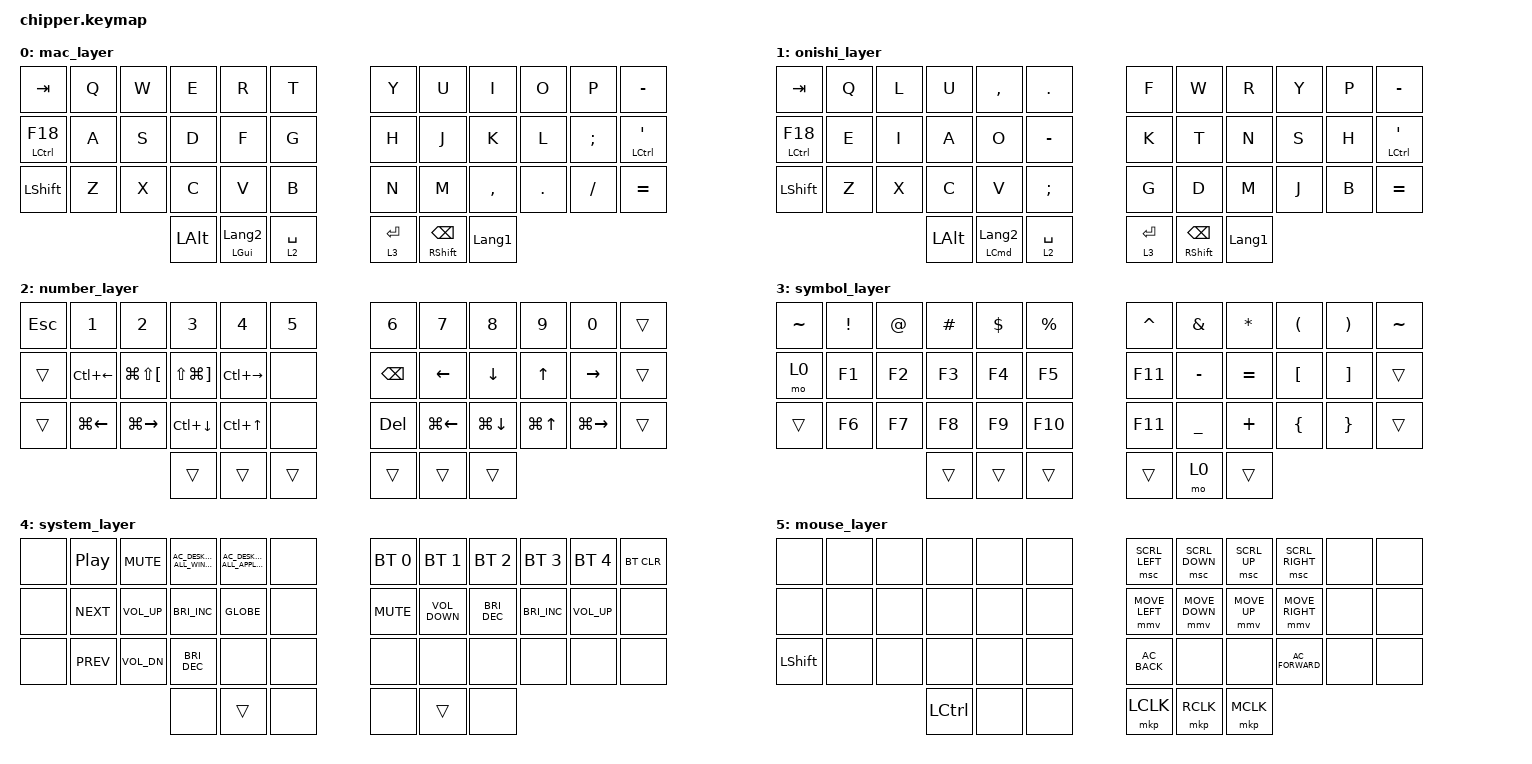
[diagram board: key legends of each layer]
#define ZMK_POINTING_DEFAULT_MOVE_VAL 1700 // default: 600
#define ZMK_POINTING_DEFAULT_SCRL_VAL 30  // default: 10

#include <behaviors.dtsi>
#include <dt-bindings/zmk/bt.h>
#include <dt-bindings/zmk/keys.h>
#include <dt-bindings/zmk/pointing.h>

#define MAC 0  // mac os
#define WIN 1  // windows os
#define SYM 2  // symbol & function
#define NUM 3  // number
#define SYS 4  // system such as media, bluetooth, bootloader, etc
#define PNT 5  // mouse

/ {
    combos {
        compatible = "zmk,combos";

        bootloader_left {
            bindings = <&bootloader>;
            key-positions = <0 24 38 5>;
        };

        bootloader_right {
            bindings = <&bootloader>;
            key-positions = <11 35 39 6>;
        };

        to_onishi_layer {
            bindings = <&tog 1>;
            key-positions = <3 4 5>;
        };

        to_system_layer {
            bindings = <&mo 4>;
            key-positions = <0 5>;
        };
    };

    behaviors {
        hold_tap_repeat: hold_tap_repeat {
            compatible = "zmk,behavior-hold-tap";
            label = "HOLD_TAP_REPEAT";
            bindings = <&kp>, <&kp>;

            #binding-cells = <2>;
            tapping-term-ms = <200>;
            quick-tap-ms = <200>;
            flavor = "balanced";
        };

        layer_tap_repeat: layer_tap_repeat {
            compatible = "zmk,behavior-hold-tap";
            label = "LAYER_TAP_REPEAT";
            bindings = <&mo>, <&kp>;

            #binding-cells = <2>;
            tapping-term-ms = <200>;
            quick-tap-ms = <200>;
            flavor = "balanced";
        };
    };

    keymap {
        compatible = "zmk,keymap";

        mac_layer {
            bindings = <
&kp TAB        &kp Q  &kp W  &kp E         &kp R                    &kp T                      &kp Y                      &kp U                                   &kp I           &kp O    &kp P     &kp MINUS
&mt LCTRL F18  &kp A  &kp S  &kp D         &kp F                    &kp G                      &kp H                      &kp J                                   &kp K           &kp L    &kp SEMI  &mt LCTRL SQT
&kp LSHFT      &kp Z  &kp X  &kp C         &kp V                    &kp B                      &kp N                      &kp M                                   &kp COMMA       &kp DOT  &kp FSLH  &kp EQUAL
                             &kp LEFT_ALT  &mt LEFT_GUI LANGUAGE_2  &layer_tap_repeat 2 SPACE  &layer_tap_repeat 3 ENTER  &hold_tap_repeat RIGHT_SHIFT BACKSPACE  &kp LANGUAGE_1
            >;
        };

        onishi_layer {
            bindings = <
&kp TAB               &kp Q  &kp L  &kp U         &kp COMMA                    &kp PERIOD                 &kp F                      &kp W                                   &kp R           &kp Y  &kp P  &kp MINUS
&mt LEFT_CONTROL F18  &kp E  &kp I  &kp A         &kp O                        &kp MINUS                  &kp K                      &kp T                                   &kp N           &kp S  &kp H  &mt LCTRL SQT
&kp LSHFT             &kp Z  &kp X  &kp C         &kp V                        &kp SEMICOLON              &kp G                      &kp D                                   &kp M           &kp J  &kp B  &kp EQUAL
                                    &kp LEFT_ALT  &mt LEFT_COMMAND LANGUAGE_2  &layer_tap_repeat 2 SPACE  &layer_tap_repeat 3 ENTER  &hold_tap_repeat RIGHT_SHIFT BACKSPACE  &kp LANGUAGE_1
            >;
        };

        number_layer {
            bindings = <
&kp ESCAPE  &kp N1              &kp N2                    &kp N3                     &kp N4               &kp N5  &kp N6         &kp N7              &kp N8              &kp N9            &kp N0               &trans
&trans      &kp LC(LEFT_ARROW)  &kp LG(LS(LEFT_BRACKET))  &kp LS(LG(RIGHT_BRACKET))  &kp LC(RIGHT_ARROW)  &none   &kp BACKSPACE  &kp LEFT_ARROW      &kp DOWN_ARROW      &kp UP_ARROW      &kp RIGHT_ARROW      &trans
&trans      &kp LG(LEFT_ARROW)  &kp LG(RIGHT_ARROW)       &kp LC(DOWN_ARROW)         &kp LC(UP_ARROW)     &none   &kp DELETE     &kp LG(LEFT_ARROW)  &kp LG(DOWN_ARROW)  &kp LG(UP_ARROW)  &kp LG(RIGHT_ARROW)  &trans
                                                          &trans                     &trans               &trans  &trans         &trans              &trans
            >;
        };

        symbol_layer {
            bindings = <
&kp TILDE  &kp EXCL  &kp AT  &kp HASH  &kp DLLR  &kp PRCNT  &kp CARET  &kp AMPS   &kp ASTRK  &kp LPAR  &kp RPAR  &kp TILDE
&mo 0      &kp F1    &kp F2  &kp F3    &kp F4    &kp F5     &kp F11    &kp MINUS  &kp EQUAL  &kp LBKT  &kp RBKT  &trans
&trans     &kp F6    &kp F7  &kp F8    &kp F9    &kp F10    &kp F11    &kp UNDER  &kp PLUS   &kp LBRC  &kp RBRC  &trans
                             &trans    &trans    &trans     &trans     &mo 0      &trans
            >;
        };

        system_layer {
            bindings = <
&none  &kp C_PP    &kp C_MUTE    &kp C_AC_DESKTOP_SHOW_ALL_WINDOWS  &kp C_AC_DESKTOP_SHOW_ALL_APPLICATIONS  &none  &bt BT_SEL 0  &bt BT_SEL 1       &bt BT_SEL 2          &bt BT_SEL 3          &bt BT_SEL 4     &bt BT_CLR
&none  &kp C_NEXT  &kp C_VOL_UP  &kp C_BRI_INC                      &kp GLOBE                               &none  &kp K_MUTE    &kp C_VOLUME_DOWN  &kp C_BRIGHTNESS_DEC  &kp C_BRIGHTNESS_INC  &kp C_VOLUME_UP  &none
&none  &kp C_PREV  &kp C_VOL_DN  &kp C_BRI_DEC                      &none                                   &none  &none         &none              &none                 &none                 &none            &none
                                 &none                              &trans                                  &none  &none         &trans             &none
            >;
        };

        mouse_layer {
            bindings = <
&none      &none  &none  &none      &none  &none  &msc SCRL_LEFT  &msc SCRL_DOWN  &msc SCRL_UP  &msc SCRL_RIGHT   &none  &none
&none      &none  &none  &none      &none  &none  &mmv MOVE_LEFT  &mmv MOVE_DOWN  &mmv MOVE_UP  &mmv MOVE_RIGHT   &none  &none
&kp LSHFT  &none  &none  &none      &none  &none  &kp C_AC_BACK   &none           &none         &kp C_AC_FORWARD  &none  &none
                         &kp LCTRL  &none  &none  &mkp LCLK       &mkp RCLK       &mkp MCLK
            >;
        };
    };
};
